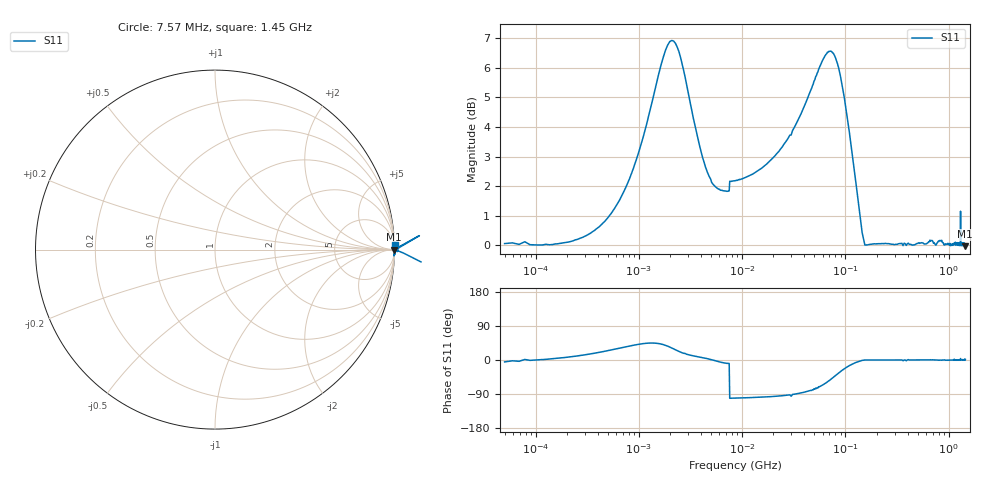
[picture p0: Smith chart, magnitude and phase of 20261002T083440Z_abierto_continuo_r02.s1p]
! piloto_saltos / abierto_continuo / r02
# HZ S RI R 50
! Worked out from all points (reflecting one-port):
!   501 points, 50 kHz to 1.45 GHz, reference 50 ohm
!   lowest |S11| = 0.0 dB at 1.423 GHz (marker M1), VSWR 495.26, Z = 2.25e+04 - j7.2e+03 ohm
!   phase of S11 starts at -5 deg and turns +7 deg over the sweep
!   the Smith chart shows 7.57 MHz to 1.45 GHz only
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50000  1.002 -0.0881
183000  1.003 0.1052
363500  1.008 0.316
658000  1.021 0.6265
1180000  1.146 1.112
1630000  1.49 1.354
1990000  1.832 1.239
2440000  1.962 0.8176
3430000  1.588 0.2949
4870000  1.299 0.0424
7300000  1.219 -0.1929
7750000  -0.2414 -1.259
8560000  -0.234 -1.265
1.72e7  -0.1757 -1.36
3.16e7  -0.0121 -1.576
4.69e7  0.3046 -1.816
5.77e7  0.734 -1.885
6.49e7  1.044 -1.828
7.39e7  1.399 -1.599
8.74e7  1.655 -1.064
9.82e7  1.627 -0.674
1e8  1.61 -0.6212
1.18e8  1.376 -0.2446
1.36e8  1.148 -0.0685
1.63e8  1.001 -0.000197
4.06e8  1.008 0.0198
1.423e9  0.996 -0.00129
1.45e9  1.005 0.027
